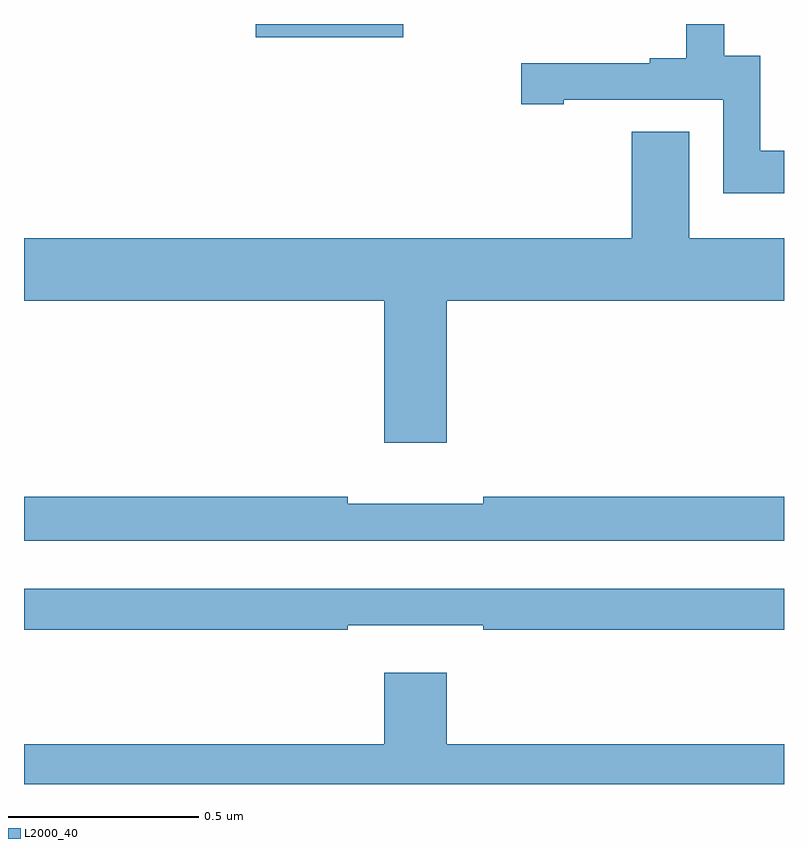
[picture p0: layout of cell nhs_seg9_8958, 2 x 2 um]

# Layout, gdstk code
import gdstk
lib = gdstk.Library(unit=1e-6, precision=1e-09)
def R(c, l, rs):  # rectangles x0, y0, x1, y1
    for r in rs: c.add(gdstk.rectangle(r[:2], r[2:], *l))
def P(c, l, *ps):  # polygons
    for p in ps: c.add(gdstk.Polygon(p, *l))
L2000_40 = (2000, 40)

nhs_seg9_8958 = lib.new_cell('nhs_seg9_8958')
R(nhs_seg9_8958, L2000_40, [(224.61,1178.465,224.998,1178.5)])
P(nhs_seg9_8958, L2000_40, [(226,1178.166),(225.937,1178.166),(225.937,1178.417),(225.843,1178.417),(225.843,1178.5),(225.743,1178.5),(225.743,1178.41),(225.647,1178.41),(225.647,1178.397),(225.309,1178.397),(225.309,1178.289),(225.421,1178.289),(225.421,1178.301),(225.84,1178.301),(225.84,1178.055),(226,1178.055)],
  [(225.112,1177.772),(226,1177.772),(226,1177.936),(225.751,1177.936),(225.751,1178.216),(225.599,1178.216),(225.599,1177.936),(224,1177.936),(224,1177.772),(224.948,1177.772),(224.948,1177.398),(225.112,1177.398)],
  [(226,1177.256),(225.208,1177.256),(225.208,1177.237),(224.852,1177.237),(224.852,1177.256),(224,1177.256),(224,1177.14),(226,1177.14)],
  [(224.852,1176.918),(225.208,1176.918),(225.208,1176.906),(226,1176.906),(226,1177.014),(224,1177.014),(224,1176.906),(224.852,1176.906)],
  [(226,1176.604),(225.112,1176.604),(225.112,1176.793),(224.948,1176.793),(224.948,1176.604),(224,1176.604),(224,1176.5),(226,1176.5)])

lib.write_gds('nhs_seg9_8958.gds')
